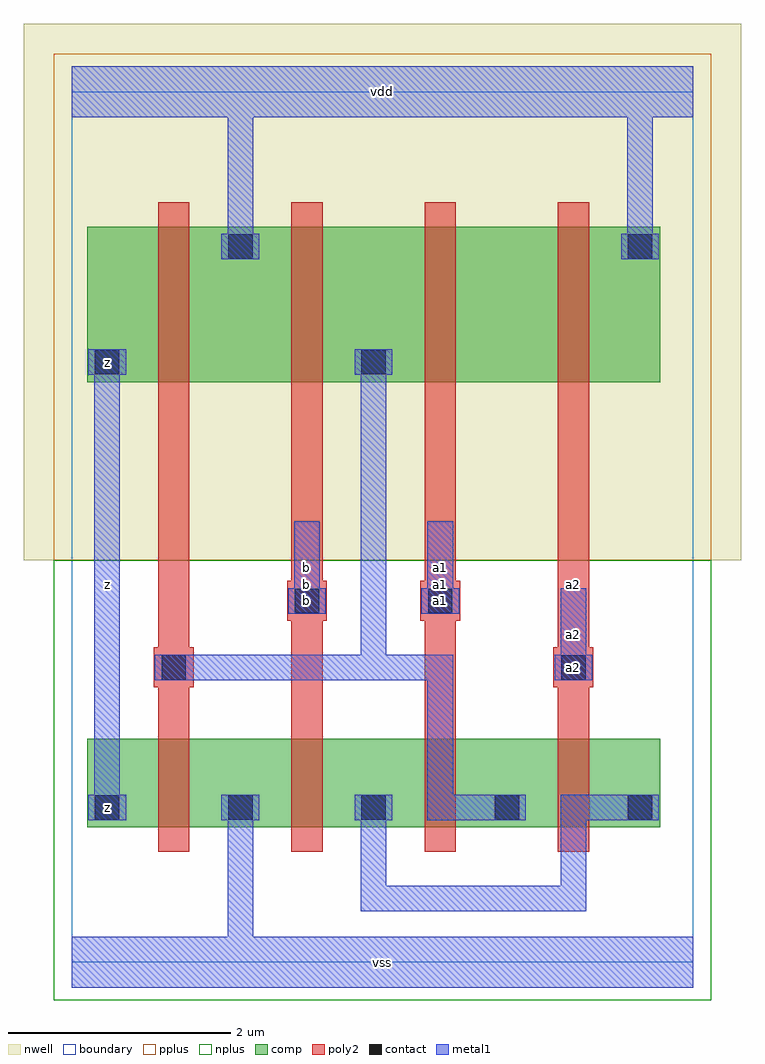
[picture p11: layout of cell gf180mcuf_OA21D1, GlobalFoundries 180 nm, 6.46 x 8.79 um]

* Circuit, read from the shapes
.subckt gf180mcuf_OA21D1 a1 a2 b vdd vss z
XM1 vss n1 z VSUBS nfet_03v3 w=0.8u l=0.28u
XM2 n2 b vss VSUBS nfet_03v3 w=0.8u l=0.28u
XM3 n1 a1 n2 VSUBS nfet_03v3 w=0.8u l=0.28u
XM4 n2 a2 n1 VSUBS nfet_03v3 w=0.8u l=0.28u
XM5 vdd n1 z n3 pfet_03v3 w=1.4u l=0.28u
XM6 n1 b vdd n3 pfet_03v3 w=1.4u l=0.28u
XM7 n4 a1 n1 n3 pfet_03v3 w=1.4u l=0.28u
XM8 vdd a2 n4 n3 pfet_03v3 w=1.4u l=0.28u
.ends

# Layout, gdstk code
import gdstk
lib = gdstk.Library(unit=1e-6, precision=1e-09)
def R(c, l, rs):  # rectangles x0, y0, x1, y1
    for r in rs: c.add(gdstk.rectangle(r[:2], r[2:], *l))
def A(c, l, x, y, w, h, nx, ny, dx, dy):  # array of equal rectangles
    R(c, l, [(x+i*dx, y+j*dy, x+i*dx+w, y+j*dy+h) for i in range(nx) for j in range(ny)])
boundary = (0, 0)
nwell = (21, 0)
comp = (22, 0)
poly2 = (30, 0)
pplus = (31, 0)
nplus = (32, 0)
contact = (33, 0)
metal1 = (34, 0)

gf180mcuf_oa21d1 = lib.new_cell('gf180mcuf_OA21D1')
R(gf180mcuf_oa21d1, boundary, [(0,0,5.6,7.84)])
R(gf180mcuf_oa21d1, nwell, [(-0.43,3.62,6.03,8.45)])
A(gf180mcuf_oa21d1, comp, 0.14, 1.215, 1.56, 0.8, 4, 1, 1.2, 0)
A(gf180mcuf_oa21d1, comp, 0.14, 1.215, 0.36, 0.36, 5, 1, 1.2, 0)
A(gf180mcuf_oa21d1, comp, 0.14, 5.225, 1.56, 1.4, 4, 1, 1.2, 0)
R(gf180mcuf_oa21d1, comp, [(0.14,5.225,0.5,5.585), (2.54,5.225,2.9,5.585), (1.34,6.265,1.7,6.625), (4.94,6.265,5.3,6.625)])
A(gf180mcuf_oa21d1, poly2, 0.78, 0.995, 0.28, 1.24, 4, 1, 1.2, 0)
A(gf180mcuf_oa21d1, poly2, 1.98, 1.255, 0.28, 4.29, 3, 1, 1.2, 0)
A(gf180mcuf_oa21d1, poly2, 0.78, 5.005, 0.28, 1.84, 4, 1, 1.2, 0)
R(gf180mcuf_oa21d1, poly2, [(0.78,1.255,1.06,2.795), (0.74,2.475,1.1,2.835), (4.34,2.475,4.7,2.835), (0.78,2.515,1.06,5.545), (1.94,3.075,2.3,3.435), (3.14,3.075,3.5,3.435)])
R(gf180mcuf_oa21d1, pplus, [(-0.16,3.62,5.76,7.5), (-0.16,7.5,5.76,8.18)])
R(gf180mcuf_oa21d1, nplus, [(-0.16,-0.34,5.76,0.34), (-0.16,0.34,5.76,3.62)])
A(gf180mcuf_oa21d1, contact, 0.21, 1.285, 0.22, 0.22, 5, 1, 1.2, 0)
R(gf180mcuf_oa21d1, contact, [(0.81,2.545,1.03,2.765), (4.41,2.545,4.63,2.765), (2.01,3.145,2.23,3.365), (3.21,3.145,3.43,3.365), (0.21,5.295,0.43,5.515), (2.61,5.295,2.83,5.515), (1.41,6.335,1.63,6.555), (5.01,6.335,5.23,6.555)])
A(gf180mcuf_oa21d1, metal1, 0.15, 1.28, 0.34, 0.23, 5, 1, 1.2, 0)
R(gf180mcuf_oa21d1, metal1, [(0,-0.23,5.6,0.23), (1.405,0.065,1.635,1.51), (2.605,0.46,2.835,1.51), (2.605,0.46,4.635,0.69), (4.405,0.46,4.635,1.51), (0.205,1.28,0.435,5.52), (3.205,1.28,4.035,1.51), (3.205,1.28,3.435,2.77), (4.405,1.28,5.235,1.51), (0.75,2.54,1.09,2.77), (0.805,2.54,3.435,2.77), (2.605,2.54,2.835,5.52), (4.35,2.54,4.69,2.77), (4.405,2.54,4.635,3.37), (1.95,3.14,2.29,3.37), (2.005,3.14,2.235,3.97), (3.15,3.14,3.49,3.37), (3.205,3.14,3.435,3.97), (0.15,5.29,0.49,5.52), (2.55,5.29,2.89,5.52), (1.35,6.33,1.69,6.56), (1.405,6.33,1.635,7.775), (4.95,6.33,5.29,6.56), (5.005,6.33,5.235,7.775), (0,7.61,5.6,8.07)])
gf180mcuf_oa21d1.add(gdstk.FlexPath([(0.14,0.575),(5.3,0.575)], 0, ends="flush", simple_path=True, layer=0, datatype=0))  # boundary
gf180mcuf_oa21d1.add(gdstk.FlexPath([(0.14,1.395),(5.3,1.395)], 0, ends="flush", simple_path=True, layer=0, datatype=0))  # boundary
gf180mcuf_oa21d1.add(gdstk.FlexPath([(0.14,2.655),(5.3,2.655)], 0, ends="flush", simple_path=True, layer=0, datatype=0))  # boundary
gf180mcuf_oa21d1.add(gdstk.FlexPath([(0.14,3.255),(5.3,3.255)], 0, ends="flush", simple_path=True, layer=0, datatype=0))  # boundary
gf180mcuf_oa21d1.add(gdstk.FlexPath([(0.14,3.855),(5.3,3.855)], 0, ends="flush", simple_path=True, layer=0, datatype=0))  # boundary
gf180mcuf_oa21d1.add(gdstk.FlexPath([(0.14,4.455),(5.3,4.455)], 0, ends="flush", simple_path=True, layer=0, datatype=0))  # boundary
gf180mcuf_oa21d1.add(gdstk.FlexPath([(0.14,5.405),(5.3,5.405)], 0, ends="flush", simple_path=True, layer=0, datatype=0))  # boundary
gf180mcuf_oa21d1.add(gdstk.FlexPath([(0.14,6.445),(5.3,6.445)], 0, ends="flush", simple_path=True, layer=0, datatype=0))  # boundary
gf180mcuf_oa21d1.add(gdstk.FlexPath([(0.14,7.265),(5.3,7.265)], 0, ends="flush", simple_path=True, layer=0, datatype=0))  # boundary
gf180mcuf_oa21d1.add(gdstk.FlexPath([(0.32,0.065),(0.32,7.775)], 0, ends="flush", simple_path=True, layer=0, datatype=0))  # boundary
gf180mcuf_oa21d1.add(gdstk.FlexPath([(0.92,0.065),(0.92,7.775)], 0, ends="flush", simple_path=True, layer=0, datatype=0))  # boundary
gf180mcuf_oa21d1.add(gdstk.FlexPath([(1.52,0.065),(1.52,7.775)], 0, ends="flush", simple_path=True, layer=0, datatype=0))  # boundary
gf180mcuf_oa21d1.add(gdstk.FlexPath([(2.12,0.065),(2.12,7.775)], 0, ends="flush", simple_path=True, layer=0, datatype=0))  # boundary
gf180mcuf_oa21d1.add(gdstk.FlexPath([(2.72,0.065),(2.72,7.775)], 0, ends="flush", simple_path=True, layer=0, datatype=0))  # boundary
gf180mcuf_oa21d1.add(gdstk.FlexPath([(3.32,0.065),(3.32,7.775)], 0, ends="flush", simple_path=True, layer=0, datatype=0))  # boundary
gf180mcuf_oa21d1.add(gdstk.FlexPath([(3.92,0.065),(3.92,7.775)], 0, ends="flush", simple_path=True, layer=0, datatype=0))  # boundary
gf180mcuf_oa21d1.add(gdstk.FlexPath([(4.52,0.065),(4.52,7.775)], 0, ends="flush", simple_path=True, layer=0, datatype=0))  # boundary
gf180mcuf_oa21d1.add(gdstk.FlexPath([(5.12,0.065),(5.12,7.775)], 0, ends="flush", simple_path=True, layer=0, datatype=0))  # boundary
gf180mcuf_oa21d1.add(gdstk.Label('z', (0.32,1.395), layer=22, texttype=0))
gf180mcuf_oa21d1.add(gdstk.Label('z', (0.32,5.405), layer=22, texttype=0))
gf180mcuf_oa21d1.add(gdstk.Label('a2', (4.52,3.4), layer=30, texttype=0))
gf180mcuf_oa21d1.add(gdstk.Label('a2', (4.52,2.655), layer=30, texttype=0))
gf180mcuf_oa21d1.add(gdstk.Label('a1', (3.32,3.4), layer=30, texttype=0))
gf180mcuf_oa21d1.add(gdstk.Label('a1', (3.32,3.255), layer=30, texttype=0))
gf180mcuf_oa21d1.add(gdstk.Label('b', (2.12,3.4), layer=30, texttype=0))
gf180mcuf_oa21d1.add(gdstk.Label('b', (2.12,3.255), layer=30, texttype=0))
gf180mcuf_oa21d1.add(gdstk.Label('a2', (4.52,2.655), layer=33, texttype=0))
gf180mcuf_oa21d1.add(gdstk.Label('a1', (3.32,3.255), layer=33, texttype=0))
gf180mcuf_oa21d1.add(gdstk.Label('b', (2.12,3.255), layer=33, texttype=0))
gf180mcuf_oa21d1.add(gdstk.Label('z', (0.32,1.395), layer=33, texttype=0))
gf180mcuf_oa21d1.add(gdstk.Label('z', (0.32,5.405), layer=33, texttype=0))
gf180mcuf_oa21d1.add(gdstk.Label('a2', (4.52,2.655), layer=34, texttype=10))
gf180mcuf_oa21d1.add(gdstk.Label('a2', (4.52,2.955), layer=34, texttype=10))
gf180mcuf_oa21d1.add(gdstk.Label('a1', (3.32,3.255), layer=34, texttype=10))
gf180mcuf_oa21d1.add(gdstk.Label('a1', (3.32,3.555), layer=34, texttype=10))
gf180mcuf_oa21d1.add(gdstk.Label('b', (2.12,3.255), layer=34, texttype=10))
gf180mcuf_oa21d1.add(gdstk.Label('b', (2.12,3.555), layer=34, texttype=10))
gf180mcuf_oa21d1.add(gdstk.Label('z', (0.32,1.395), layer=34, texttype=10))
gf180mcuf_oa21d1.add(gdstk.Label('z', (0.32,5.405), layer=34, texttype=10))
gf180mcuf_oa21d1.add(gdstk.Label('z', (0.32,3.4), layer=34, texttype=10))
gf180mcuf_oa21d1.add(gdstk.Label('vss', (2.8,0), layer=34, texttype=10))
gf180mcuf_oa21d1.add(gdstk.Label('vdd', (2.8,7.84), layer=34, texttype=10))

lib.write_gds('gf180mcuf_OA21D1.gds')
